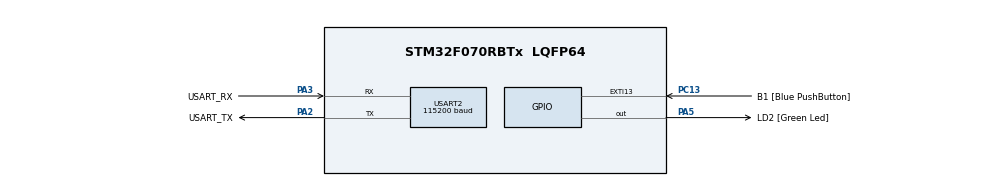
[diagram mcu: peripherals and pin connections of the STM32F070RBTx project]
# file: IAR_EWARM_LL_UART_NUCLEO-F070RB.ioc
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Mcu.Family=STM32F0
Mcu.Name=STM32F070RBTx
Mcu.Package=LQFP64
NVIC.USART2_IRQn=true\:0\:0\:false\:false\:true\:true\:true
PA13.GPIO_Label=TMS
PA13.Mode=Serial_Wire
PA13.Signal=SYS_SWDIO
PA14.GPIO_Label=TCK
PA14.Mode=Serial_Wire
PA14.Signal=SYS_SWCLK
PA2.GPIO_Label=USART_TX
PA2.Mode=Asynchronous
PA2.Signal=USART2_TX
PA3.GPIO_Label=USART_RX
PA3.Mode=Asynchronous
PA3.Signal=USART2_RX
PA5.GPIO_Label=LD2 [Green Led]
PA5.Signal=GPIO_Output
PC13.GPIO_Label=B1 [Blue PushButton]
PC13.GPIO_ModeDefaultEXTI=GPIO_MODE_IT_FALLING
PC13.Signal=GPXTI13
PC14-OSC32_IN.GPIO_Label=RCC_OSC32_IN
PC14-OSC32_IN.Mode=LSE-External-Oscillator
PC14-OSC32_IN.Signal=RCC_OSC32_IN
PC15-OSC32_OUT.GPIO_Label=RCC_OSC32_OUT
PC15-OSC32_OUT.Mode=LSE-External-Oscillator
PC15-OSC32_OUT.Signal=RCC_OSC32_OUT
PF0-OSC_IN.GPIO_Label=RCC_OSC_IN
PF0-OSC_IN.Mode=HSE-External-Clock-Source
PF0-OSC_IN.Signal=RCC_OSC_IN
PF1-OSC_OUT.GPIO_Label=RCC_OSC_OUT
PF1-OSC_OUT.Signal=RCC_OSC_OUT
ProjectManager.HeapSize=0x200
ProjectManager.StackSize=0x400
ProjectManager.TargetToolchain=EWARM V8.32
RCC.AHBFreq_Value=48000000
RCC.APB1Freq_Value=48000000
RCC.APB1TimFreq_Value=48000000
RCC.HCLKFreq_Value=48000000
RCC.PLLMUL=RCC_PLL_MUL6
RCC.SYSCLKFreq_VALUE=48000000
RCC.SYSCLKSource=RCC_SYSCLKSOURCE_PLLCLK
USART2.BaudRate=115200
USART2.VirtualMode-Asynchronous=VM_ASYNC
board=NUCLEO-F070RB

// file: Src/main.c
/* USER CODE BEGIN Header */
/**
  ******************************************************************************
  * @file           : main.c
  * @brief          : Main program body
  ******************************************************************************
  * @attention
  *
  * <h2><center>&copy; Copyright (c) 2020 STMicroelectronics.
  * All rights reserved.</center></h2>
  *
  * This software component is licensed by ST under BSD 3-Clause license,
  * the "License"; You may not use this file except in compliance with the
  * License. You may obtain a copy of the License at:
  *                        opensource.org/licenses/BSD-3-Clause
  *
  ******************************************************************************
  */
/* USER CODE END Header */

#include "main.h"

/* USER CODE BEGIN Includes */
#include "trice.h"
/* USER CODE END Includes */

void SystemClock_Config(void);
static void MX_GPIO_Init(void);
static void MX_USART2_UART_Init(void);

int main(void)
{
  /* USER CODE BEGIN 1 */
#ifdef ENCRYPT
    InitXteaTable();
#endif
  /* USER CODE END 1 */

  /* MCU Configuration--------------------------------------------------------*/

  /* Reset of all peripherals, Initializes the Flash interface and the Systick. */

  LL_APB1_GRP2_EnableClock(LL_APB1_GRP2_PERIPH_SYSCFG);
  LL_APB1_GRP1_EnableClock(LL_APB1_GRP1_PERIPH_PWR);

  /* System interrupt init*/

  /* Configure the system clock */
  SystemClock_Config();

  /* USER CODE BEGIN SysInit */
    SysTick->CTRL |= SysTick_CTRL_TICKINT_Msk; // enable SysTick interrupt
  /* USER CODE END SysInit */

  /* Initialize all configured peripherals */
  MX_GPIO_Init();
  MX_USART2_UART_Init();
  /* USER CODE BEGIN 2 */
    LL_USART_EnableIT_RXNE(USART2); // enable UART2 interrupt
  /* USER CODE END 2 */

  /* Infinite loop */
  /* USER CODE BEGIN WHILE */
    TRICE16_1( Id(48110), "TIM:timing      message, SysTick is %6d\n", SYSTICKVAL16 );
    TRICE0( Id(53140), "att:IAR_EWARM_LL_UART_NUCLEO-F070RB\n" );
    TRICE16_1( Id(46765), "TIM:timing      message, SysTick is %6d\n", SYSTICKVAL16 );
    TRICE16_1( Id(27232), "TIM:timing      message, SysTick is %6d\n", SYSTICKVAL16 );
    TRICE16_1( Id(63161), "TIM:timing      message, SysTick is %6d\n", SYSTICKVAL16 );
    TRICE16_1( Id(58408), "TIM:timing      message, SysTick is %6d\n", SYSTICKVAL16 );
    while (1)
    {
      //////////////////////////////////////////////////
      // demo trices
      //
      static uint32_t ms_1 = 0;
      if( ms >= ms_1 + 1000 ){ // every sec
          static int index = 0;
          triceCheckSet(index++%20);
          TRICE32_1( Id(27936), "time:ms = %d\n", ms );
          LL_GPIO_TogglePin(LD2_GPIO_Port, LD2_Pin);
          ms_1 = ms;
      }
      //
      //////////////////////////////////////////////////

      //////////////////////////////////////////////////
      // needed background activity
      //
        #ifdef LL_INTERFACE_NO_INTERRUPTS
        triceServe();
        #endif
      //
      //////////////////////////////////////////////////
    /* USER CODE END WHILE */

  }
}

void SystemClock_Config(void)
{
  LL_FLASH_SetLatency(LL_FLASH_LATENCY_1);

  if(LL_FLASH_GetLatency() != LL_FLASH_LATENCY_1)
  {
  Error_Handler();
  }
  LL_RCC_HSI_Enable();

   /* Wait till HSI is ready */
  while(LL_RCC_HSI_IsReady() != 1)
  {

  }
  LL_RCC_HSI_SetCalibTrimming(16);
  LL_RCC_PLL_ConfigDomain_SYS(LL_RCC_PLLSOURCE_HSI, LL_RCC_PLL_MUL_6, LL_RCC_PREDIV_DIV_1);
  LL_RCC_PLL_Enable();

   /* Wait till PLL is ready */
  while(LL_RCC_PLL_IsReady() != 1)
  {

  }
  LL_RCC_SetAHBPrescaler(LL_RCC_SYSCLK_DIV_1);
  LL_RCC_SetAPB1Prescaler(LL_RCC_APB1_DIV_1);
  LL_RCC_SetSysClkSource(LL_RCC_SYS_CLKSOURCE_PLL);

   /* Wait till System clock is ready */
  while(LL_RCC_GetSysClkSource() != LL_RCC_SYS_CLKSOURCE_STATUS_PLL)
  {

  }
  LL_Init1msTick(48000000);
  LL_SetSystemCoreClock(48000000);
}

static void MX_USART2_UART_Init(void)
{

  LL_USART_InitTypeDef USART_InitStruct = {0};

  LL_GPIO_InitTypeDef GPIO_InitStruct = {0};

  /* Peripheral clock enable */
  LL_APB1_GRP1_EnableClock(LL_APB1_GRP1_PERIPH_USART2);

  LL_AHB1_GRP1_EnableClock(LL_AHB1_GRP1_PERIPH_GPIOA);
  /**USART2 GPIO Configuration
  PA2   ------> USART2_TX
  PA3   ------> USART2_RX
  */
  GPIO_InitStruct.Pin = USART_TX_Pin;
  GPIO_InitStruct.Mode = LL_GPIO_MODE_ALTERNATE;
  GPIO_InitStruct.Speed = LL_GPIO_SPEED_FREQ_HIGH;
  GPIO_InitStruct.OutputType = LL_GPIO_OUTPUT_PUSHPULL;
  GPIO_InitStruct.Pull = LL_GPIO_PULL_NO;
  GPIO_InitStruct.Alternate = LL_GPIO_AF_1;
  LL_GPIO_Init(USART_TX_GPIO_Port, &GPIO_InitStruct);

  GPIO_InitStruct.Pin = USART_RX_Pin;
  GPIO_InitStruct.Mode = LL_GPIO_MODE_ALTERNATE;
  GPIO_InitStruct.Speed = LL_GPIO_SPEED_FREQ_HIGH;
  GPIO_InitStruct.OutputType = LL_GPIO_OUTPUT_PUSHPULL;
  GPIO_InitStruct.Pull = LL_GPIO_PULL_NO;
  GPIO_InitStruct.Alternate = LL_GPIO_AF_1;
  LL_GPIO_Init(USART_RX_GPIO_Port, &GPIO_InitStruct);

  /* USART2 interrupt Init */
  NVIC_SetPriority(USART2_IRQn, 0);
  NVIC_EnableIRQ(USART2_IRQn);

  USART_InitStruct.BaudRate = 115200;
  USART_InitStruct.DataWidth = LL_USART_DATAWIDTH_8B;
  USART_InitStruct.StopBits = LL_USART_STOPBITS_1;
  USART_InitStruct.Parity = LL_USART_PARITY_NONE;
  USART_InitStruct.TransferDirection = LL_USART_DIRECTION_TX_RX;
  USART_InitStruct.HardwareFlowControl = LL_USART_HWCONTROL_NONE;
  USART_InitStruct.OverSampling = LL_USART_OVERSAMPLING_16;
  LL_USART_Init(USART2, &USART_InitStruct);
  LL_USART_DisableIT_CTS(USART2);
  LL_USART_ConfigAsyncMode(USART2);
  LL_USART_Enable(USART2);

}

static void MX_GPIO_Init(void)
{
  LL_EXTI_InitTypeDef EXTI_InitStruct = {0};
  LL_GPIO_InitTypeDef GPIO_InitStruct = {0};

  /* GPIO Ports Clock Enable */
  LL_AHB1_GRP1_EnableClock(LL_AHB1_GRP1_PERIPH_GPIOC);
  LL_AHB1_GRP1_EnableClock(LL_AHB1_GRP1_PERIPH_GPIOF);
  LL_AHB1_GRP1_EnableClock(LL_AHB1_GRP1_PERIPH_GPIOA);

  /**/
  LL_GPIO_ResetOutputPin(LD2_GPIO_Port, LD2_Pin);

  /**/
  LL_SYSCFG_SetEXTISource(LL_SYSCFG_EXTI_PORTC, LL_SYSCFG_EXTI_LINE13);

  /**/
  LL_GPIO_SetPinPull(B1_GPIO_Port, B1_Pin, LL_GPIO_PULL_NO);

  /**/
  LL_GPIO_SetPinMode(B1_GPIO_Port, B1_Pin, LL_GPIO_MODE_INPUT);

  /**/
  EXTI_InitStruct.Line_0_31 = LL_EXTI_LINE_13;
  EXTI_InitStruct.LineCommand = ENABLE;
  EXTI_InitStruct.Mode = LL_EXTI_MODE_IT;
  EXTI_InitStruct.Trigger = LL_EXTI_TRIGGER_FALLING;
  LL_EXTI_Init(&EXTI_InitStruct);

  /**/
  GPIO_InitStruct.Pin = LD2_Pin;
  GPIO_InitStruct.Mode = LL_GPIO_MODE_OUTPUT;
  GPIO_InitStruct.Speed = LL_GPIO_SPEED_FREQ_LOW;
  GPIO_InitStruct.OutputType = LL_GPIO_OUTPUT_PUSHPULL;
  GPIO_InitStruct.Pull = LL_GPIO_PULL_NO;
  LL_GPIO_Init(LD2_GPIO_Port, &GPIO_InitStruct);

}

void Error_Handler(void)
{
}

/************************ (C) COPYRIGHT STMicroelectronics *****END OF FILE****/
